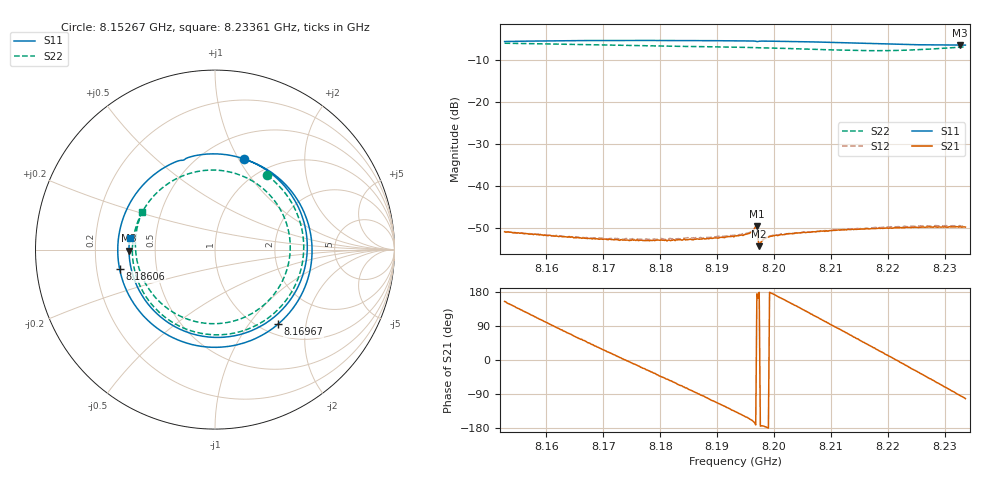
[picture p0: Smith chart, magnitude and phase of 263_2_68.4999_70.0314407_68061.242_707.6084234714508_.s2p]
#  HZ  S  RI  R  50.00
! Rohde & Schwarz Vector Network Analyzer
! Rohde-Schwarz,ZNB20-2Port,1311601062101988,3.16
! Created: UTC 3/20/2024, 5:00:20 PM
! freq[Hz]  re:S11  im:S11  re:S21  im:S21  re:S12  im:S12  re:S22  im:S22
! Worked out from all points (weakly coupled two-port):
!   401 points, 8.15267 GHz to 8.23361 GHz, reference 50 ohm
!   highest |S21| = -49.54 dB at 8.19699 GHz (marker M1); lowest = -54.4 dB at 8.19739 GHz (marker M2)
!   lowest |S11| = -6.4 dB at 8.2326 GHz (marker M3), VSWR 2.84, Z = 17.6 - j0.233 ohm
!   |S11| at or under -10 dB: nowhere
!   |S22| runs from -7.7 to -5.9 dB; largest |S21 - S12| = 0.00025
!   S11 on the Smith chart (normalised r, x): 8.15267 GHz: 0.76, +1.06; 8.16967 GHz: 1.19, -1.40; 8.18606 GHz: 0.30, -0.09; 8.23361 GHz: 0.35, +0.06
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8.152669e9  0.1639 0.5027  -0.00257 0.00123  -0.00255 0.00128  0.2891 0.4136
8.159955e9  0.5078 0.1787  -0.000424 0.00254  -0.000427 0.00254  0.4941 0.0289
8.166228e9  0.491 -0.2318  0.00138 0.00194  0.00145 0.00196  0.369 -0.315
8.169668e9  0.3513 -0.4155  0.00204 0.00113  0.00207 0.00119  0.2076 -0.4326
8.174727e9  0.0377 -0.5431  0.00224 -0.000222  0.00231 -0.000261  -0.0767 -0.4667
8.179786e9  -0.2934 -0.4579  0.00169 -0.00151  0.00172 -0.00155  -0.3259 -0.3344
8.186059e9  -0.5316 -0.107  0.000223 -0.00232  0.000199 -0.00238  -0.4604 -0.0202
8.189499e9  -0.5249 0.1313  -0.000781 -0.00227  -0.000837 -0.00233  -0.4257 0.1664
8.193142e9  -0.4059 0.3548  -0.00183 -0.00177  -0.0019 -0.00177  -0.309 0.3305
8.196582e9  -0.2074 0.4934  -0.00299 -0.000778  -0.00308 -0.000676  -0.1421 0.4242
8.196987e9  -0.1787 0.4977  -0.00332 0.000305  -0.00339 0.000428  -0.1201 0.4302
8.197391e9  -0.1604 0.5084  -0.00191 5.13e-05  -0.00197 0.000166  -0.0979 0.4351
8.201843e9  0.152 0.5085  -0.00246 0.000957  -0.00242 0.00109  0.1508 0.4109
8.2067e9  0.4236 0.3073  -0.00144 0.00246  -0.00134 0.00248  0.3609 0.2291
8.209938e9  0.5082 0.0945  -0.000182 0.00293  -0.000136 0.00294  0.4182 0.0457
8.213176e9  0.4915 -0.1351  0.00114 0.0028  0.00121 0.00281  0.3872 -0.1489
8.217021e9  0.3426 -0.3649  0.00249 0.00183  0.00259 0.00179  0.2367 -0.3362
8.220258e9  0.1372 -0.4739  0.0031 0.000522  0.00322 0.000422  0.0404 -0.4102
8.225722e9  -0.2438 -0.4175  0.00262 -0.00189  0.00262 -0.00208  -0.3006 -0.2984
8.229365e9  -0.4222 -0.2282  0.00134 -0.00294  0.00122 -0.00312  -0.4292 -0.0842
8.232602e9  -0.479 -0.0051  -0.000178 -0.00326  -0.00039 -0.00335  -0.4293 0.1413
8.233614e9  -0.4746 0.067  -0.000669 -0.00317  -0.000841 -0.00322  -0.4063 0.2088
